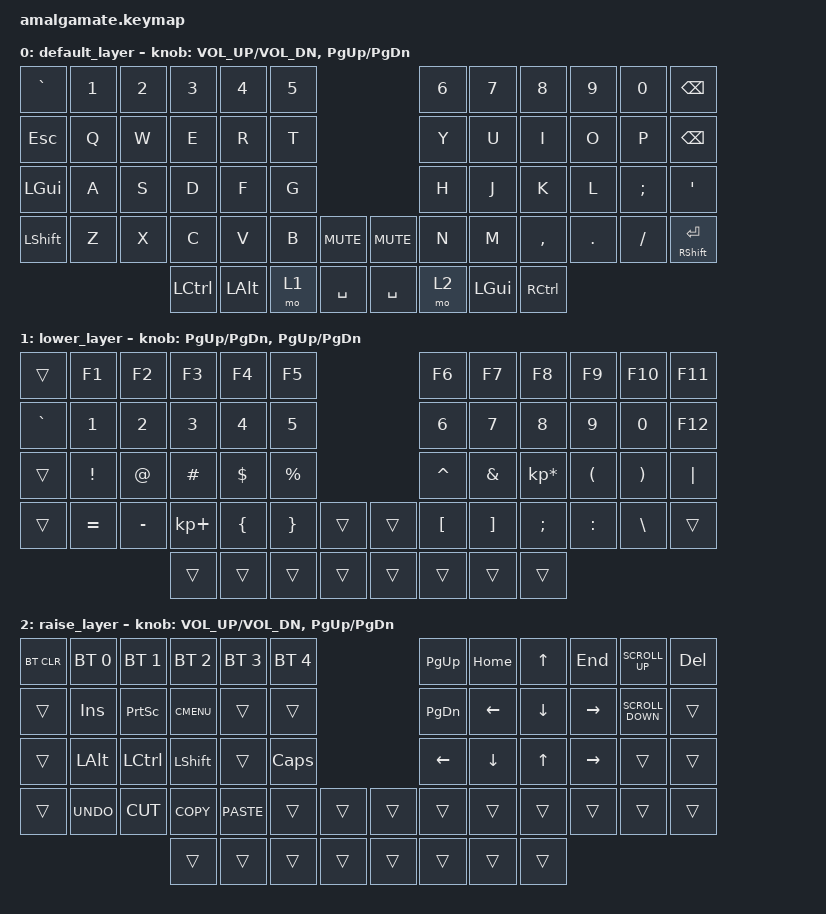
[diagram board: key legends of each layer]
/*
 * Copyright (c) 2021 Anthony Amanse
 *
 * SPDX-License-Identifier: MIT
 */

#include <behaviors.dtsi>
#include <dt-bindings/zmk/keys.h>
#include <dt-bindings/zmk/bt.h>

/ {
        keymap {
                compatible = "zmk,keymap";

                default_layer {
// ------------------------------------------------------------------------------------------------------------
// |  `    |  1  |  2  |  3   |  4   |  5   |                   |  6   |  7    |  8    |  9   |   0   | BKSPC |
// |  ESC  |  Q  |  W  |  E   |  R   |  T   |                   |  Y   |  U    |  I    |  O   |   P   | BKSPC |
// |  TAB  |  A  |  S  |  D   |  F   |  G   |                   |  H   |  J    |  K    |  L   |   ;   |   '   |
// | SHIFT |  Z  |  X  |  C   |  V   |  B   |  MUTE  |  | MUTE  |  N   |  M    |  ,    |  .   |   /   | SHIFT |
//                     | CTRL  | ALT   | LOWER| SPACE |  | SPACE | RAISE| GUI  | CTRL   |
                        bindings = <
&kp GRAVE &kp N1 &kp N2   &kp N3   &kp N4    &kp N5                      &kp N6 &kp N7    &kp N8    &kp N9   &kp N0   &kp BSPC
&kp ESC   &kp Q  &kp W    &kp E    &kp R     &kp T                       &kp Y  &kp U     &kp I     &kp O    &kp P    &kp BSPC
&kp LGUI  &kp A  &kp S    &kp D    &kp F     &kp G                       &kp H  &kp J     &kp K     &kp L    &kp SEMI &kp SQT
&kp LSHFT &kp Z  &kp X    &kp C    &kp V     &kp B  &kp C_MUTE   &kp C_MUTE   &kp N  &kp M     &kp COMMA &kp DOT  &kp FSLH &mt RSHFT ENTER
                          &kp LCTRL &kp LALT &mo 1  &kp SPACE    &kp SPACE &mo 2 &kp LGUI  &kp RCTRL
                        >;
                        sensor-bindings = <&inc_dec_kp C_VOL_UP C_VOL_DN &inc_dec_kp PG_UP PG_DN>;
                };
                lower_layer {
// ------------------------------------------------------------------------------------------------------------
// |       |  F1 |  F2 |  F3  |  F4  |  F5  |                   |  F6  |  F7   |  F8   |  F9  |  F10  |  F11  |
// | `     |   1 |   2 |   3  |   4  |   5  |                   |   6  |   7   |   8   |   9  |    0  |  F12  |
// |       |  !  |  @  |  #   |  $   |  %   |                   |  ^   |  &    |  *    |  (   |   )   |   |   |
// |       |  =  |  -  |  +   |  {   |  }   |        |  |       |  [   |  ]    |  ;    |  :   |   \   |       |
//               |     |      |      |      |        |  |       |      |       |       |      |
                        bindings = <
&trans    &kp F1    &kp F2    &kp F3      &kp F4    &kp F5                    &kp F6    &kp F7   &kp F8          &kp F9    &kp F10   &kp F11
&kp GRAVE &kp N1    &kp N2    &kp N3      &kp N4    &kp N5                    &kp N6    &kp N7   &kp N8          &kp N9    &kp N0    &kp F12
&trans    &kp EXCL  &kp AT    &kp HASH    &kp DLLR  &kp PRCNT                 &kp CARET &kp AMPS &kp KP_MULTIPLY &kp LPAR  &kp RPAR  &kp PIPE
&trans    &kp EQUAL &kp MINUS &kp KP_PLUS &kp LBRC  &kp RBRC  &trans   &trans &kp LBKT  &kp RBKT &kp SEMI        &kp COLON &kp BSLH  &trans
                              &trans      &trans      &trans  &trans   &trans &trans    &trans    &trans
                        >;
                        sensor-bindings = <&inc_dec_kp PG_UP PG_DN &inc_dec_kp PG_UP PG_DN>;
                };

                raise_layer {
// ------------------------------------------------------------------------------------------------------------
// |BTCLR| BT1  | BT2  |  BT3  |  BT4  |  BT5 |                | PGUP |      |       |      |       |  DEL  |
// |     | INS  | PSCR | GUI   |       |      |                | PGDN |      |       |      |       |       |
// |     | ALT  | CTRL | SHIFT |       | CAPS |                |   <- |   v  |   ^   |  ->  |  DEL  | BKSPC |
// |     | UNDO | CUT  | COPY  | PASTE |      |      |  |      |      |      |       |      |       |       |
//              |      |       |       |      |      |  |      |      |      |       |      |
                        bindings = <
&bt BT_CLR &bt BT_SEL 0 &bt BT_SEL 1 &bt BT_SEL 2 &bt BT_SEL 3 &bt BT_SEL 4                    &kp PG_UP &kp HOME  &kp UP   &kp END   &kp K_SCROLL_UP  &kp DEL
&trans     &kp INS      &kp PSCRN    &kp K_CMENU  &trans       &trans                          &kp PG_DN &kp LEFT &kp DOWN &kp RIGHT &kp K_SCROLL_DOWN &trans
&trans     &kp LALT     &kp LCTRL    &kp LSHFT    &trans       &kp CLCK                        &kp LEFT  &kp DOWN  &kp UP   &kp RIGHT &trans  &trans
&trans     &kp K_UNDO   &kp K_CUT    &kp K_COPY   &kp K_PASTE  &trans        &trans    &trans  &trans    &trans    &trans   &trans    &trans  &trans
                                     &trans       &trans       &trans        &trans    &trans  &trans    &trans    &trans
                        >;
                        sensor-bindings = <&inc_dec_kp C_VOL_UP C_VOL_DN &inc_dec_kp PG_UP PG_DN>;
                };
        };
};
